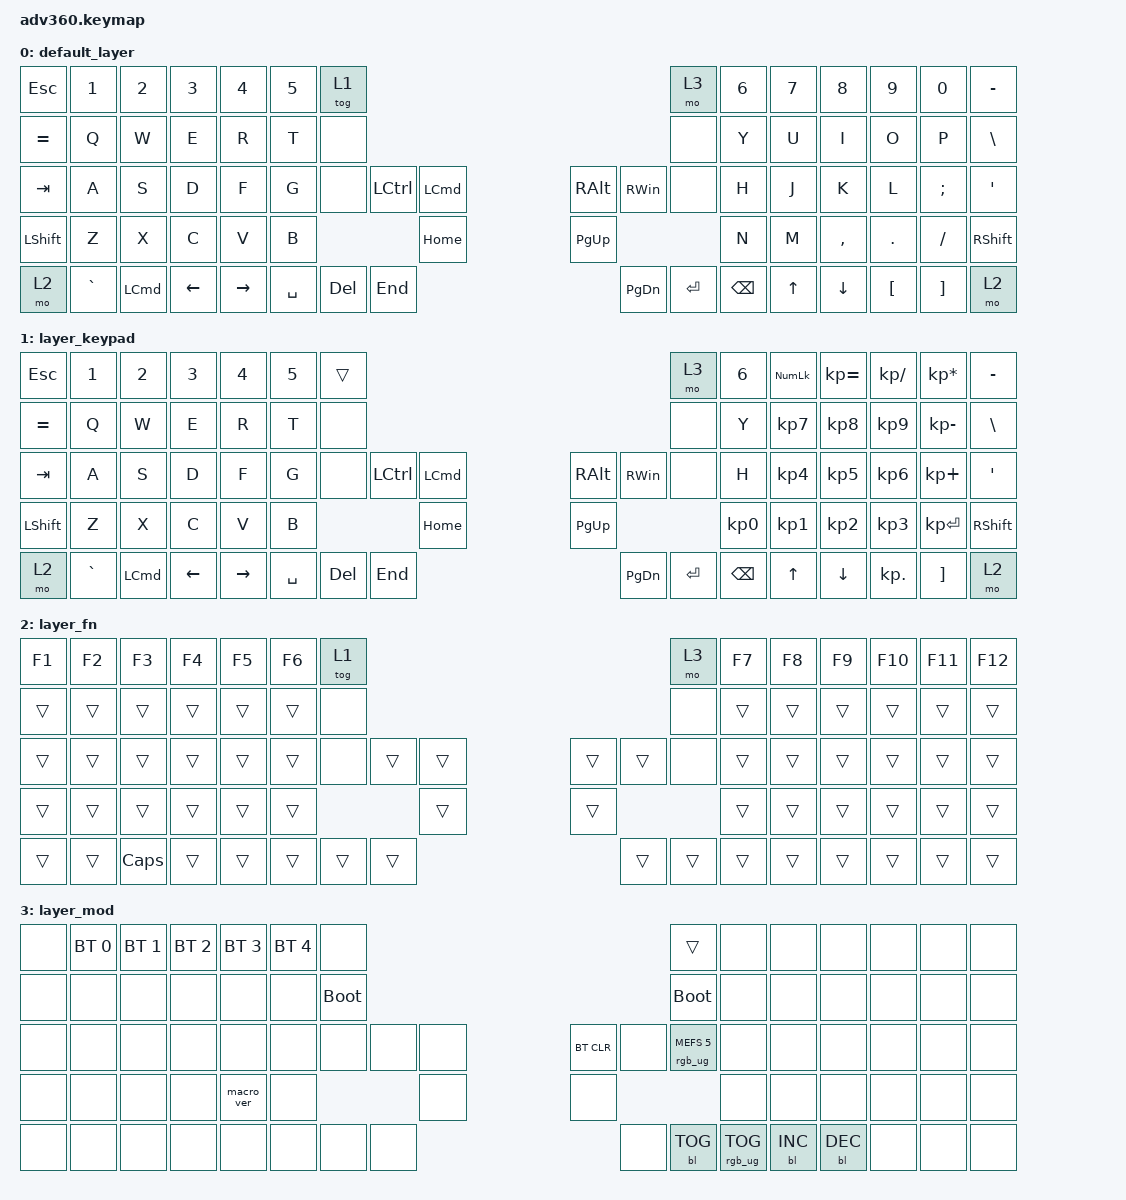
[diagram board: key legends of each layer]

/*
 * Copyright (c) 2020 The ZMK Contributors
 *
 * SPDX-License-Identifier: MIT
 */


/* THIS FILE WAS GENERATED!
 *
 * This file was generated automatically. You may or may not want to
 * edit it directly.
 */

#include <behaviors.dtsi>
#include <dt-bindings/zmk/keys.h>
#include <dt-bindings/zmk/bt.h>
#include <dt-bindings/zmk/rgb.h>
#include <dt-bindings/zmk/backlight.h>

/ {
  behaviors {
    #include "macros.dtsi"
    #include "version.dtsi"

    hm: homerow_mods {
        compatible = "zmk,behavior-hold-tap";
        label = "HOMEROW_MODS";
        #binding-cells = <2>;
        tapping-term-ms = <200>;
        quick_tap_ms = <175>;
        flavor = "tap-preferred";
        bindings = <&kp>, <&kp>;
    };
  };

    keymap {
        compatible = "zmk,keymap";


        default_layer {
            bindings = <
   &kp ESC     &kp N1            &kp N2    &kp N3     &kp N4  &kp N5               &tog 1                                                                                            &mo 3  &kp N6  &kp N7     &kp N8            &kp N9             &kp N0         &kp MINUS
 &kp EQUAL      &kp Q             &kp W     &kp E      &kp R   &kp T                &none                                                                                            &none   &kp Y   &kp U      &kp I             &kp O              &kp P          &kp BSLH
   &kp TAB      &kp A             &kp S     &kp D      &kp F   &kp G                &none  &kp LEFT_CONTROL  &kp LEFT_COMMAND                  &kp RIGHT_ALT  &kp RIGHT_WIN          &none   &kp H   &kp J      &kp K             &kp L           &kp SEMI  &kp SINGLE_QUOTE
 &kp LSHFT      &kp Z             &kp X     &kp C      &kp V   &kp B                                                 &kp HOME                      &kp PG_UP                                 &kp N   &kp M  &kp COMMA           &kp DOT           &kp FSLH         &kp RSHFT
     &mo 2  &kp GRAVE  &kp LEFT_COMMAND  &kp LEFT  &kp RIGHT                    &kp SPACE           &kp DEL           &kp END                      &kp PG_DN      &kp ENTER  &kp BACKSPACE          &kp UP   &kp DOWN  &kp LEFT_BRACKET  &kp RIGHT_BRACKET             &mo 2
            >;
        };

        layer_keypad {
            bindings = <
   &kp ESC     &kp N1            &kp N2    &kp N3     &kp N4  &kp N5               &trans                                                                                     &mo 3     &kp N6  &kp KP_NUM  &kp KP_EQUAL  &kp KP_DIVIDE    &kp KP_MULTIPLY  &kp MINUS
 &kp EQUAL      &kp Q             &kp W     &kp E      &kp R   &kp T                &none                                                                                     &none      &kp Y   &kp KP_N7     &kp KP_N8      &kp KP_N9       &kp KP_MINUS   &kp BSLH
   &kp TAB      &kp A             &kp S     &kp D      &kp F   &kp G                &none  &kp LCTRL  &kp LEFT_COMMAND                  &kp RIGHT_ALT  &kp RIGHT_WIN          &none      &kp H   &kp KP_N4     &kp KP_N5      &kp KP_N6        &kp KP_PLUS    &kp SQT
 &kp LSHFT      &kp Z             &kp X     &kp C      &kp V   &kp B                                          &kp HOME                      &kp PG_UP                                &kp KP_N0   &kp KP_N1     &kp KP_N2      &kp KP_N3       &kp KP_ENTER  &kp RSHFT
     &mo 2  &kp GRAVE  &kp LEFT_COMMAND  &kp LEFT  &kp RIGHT                    &kp SPACE    &kp DEL           &kp END                      &kp PG_DN      &kp ENTER  &kp BACKSPACE                 &kp UP      &kp DOWN     &kp KP_DOT  &kp RIGHT_BRACKET      &mo 2
            >;
        };

        layer_fn {
            bindings = <
 &kp F1  &kp F2    &kp F3  &kp F4  &kp F5  &kp F6            &tog 1                                                   &mo 3  &kp F7  &kp F8  &kp F9  &kp F10  &kp F11  &kp F12
 &trans  &trans    &trans  &trans  &trans  &trans             &none                                                   &none  &trans  &trans  &trans   &trans   &trans   &trans
 &trans  &trans    &trans  &trans  &trans  &trans             &none  &trans  &trans                  &trans  &trans   &none  &trans  &trans  &trans   &trans   &trans   &trans
 &trans  &trans    &trans  &trans  &trans  &trans                            &trans                  &trans                  &trans  &trans  &trans   &trans   &trans   &trans
 &trans  &trans  &kp CAPS  &trans  &trans                    &trans  &trans  &trans                  &trans  &trans  &trans          &trans  &trans   &trans   &trans   &trans
            >;
        };

        layer_mod {
            bindings = <
  &none  &bt BT_SEL 0  &bt BT_SEL 1  &bt BT_SEL 2  &bt BT_SEL 3  &bt BT_SEL 4                  &none                                                                          &trans   &none       &none       &none   &none   &none   &none
  &none         &none         &none         &none         &none         &none            &bootloader                                                                     &bootloader   &none       &none       &none   &none   &none   &none
  &none         &none         &none         &none         &none         &none                  &none   &none   &none                  &bt BT_CLR       &none  &rgb_ug RGB_MEFS_CMD 5   &none       &none       &none   &none   &none   &none
  &none         &none         &none         &none    &macro_ver         &none                                  &none                       &none                                       &none       &none       &none   &none   &none   &none
  &none         &none         &none         &none         &none                                &none   &none   &none                       &none  &bl BL_TOG         &rgb_ug RGB_TOG          &bl BL_INC  &bl BL_DEC   &none   &none   &none
            >;
        };

    };
};
